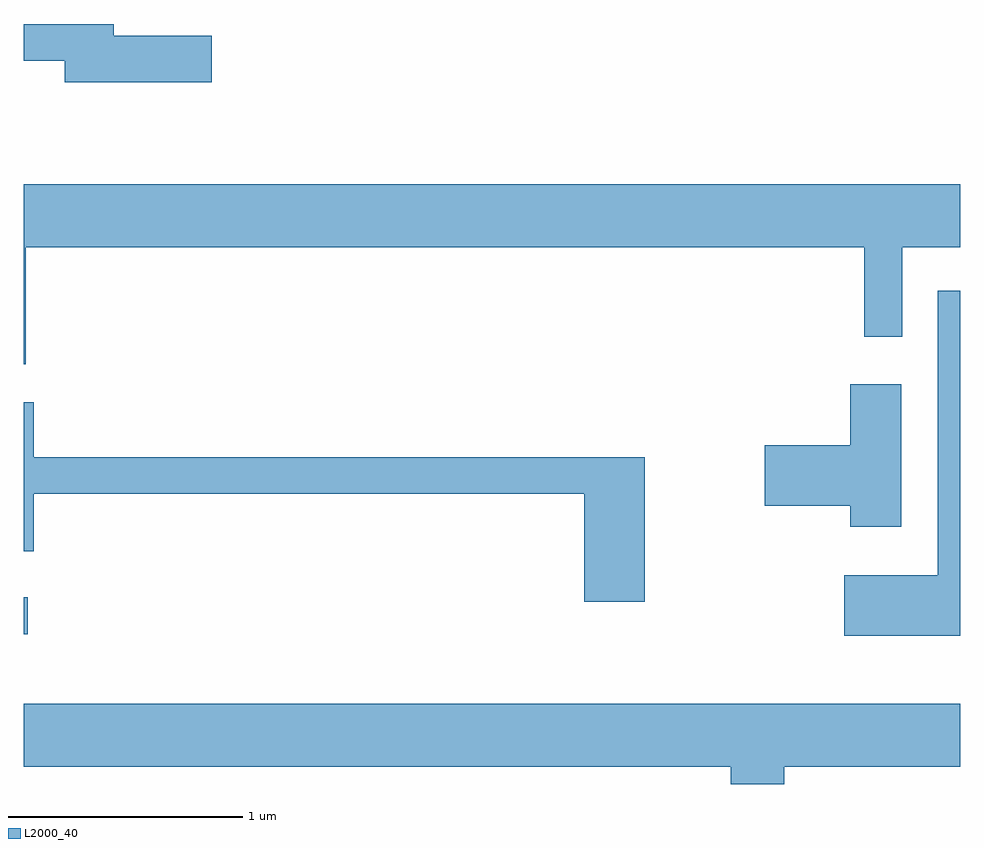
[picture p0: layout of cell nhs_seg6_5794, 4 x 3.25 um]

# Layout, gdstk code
import gdstk
lib = gdstk.Library(unit=1e-6, precision=1e-09)
def R(c, l, rs):  # rectangles x0, y0, x1, y1
    for r in rs: c.add(gdstk.rectangle(r[:2], r[2:], *l))
def P(c, l, *ps):  # polygons
    for p in ps: c.add(gdstk.Polygon(p, *l))
L2000_40 = (2000, 40)

nhs_seg6_5794 = lib.new_cell('nhs_seg6_5794')
R(nhs_seg6_5794, L2000_40, [(361.611,1572.801,361.628,1572.959)])
P(nhs_seg6_5794, L2000_40, [(362.414,1575.359),(361.994,1575.359),(361.994,1575.409),(361.611,1575.409),(361.611,1575.251),(361.786,1575.251),(361.786,1575.161),(362.414,1575.161)],
  [(361.619,1574.456),(365.201,1574.456),(365.201,1574.073),(365.364,1574.073),(365.364,1574.456),(365.611,1574.456),(365.611,1574.724),(361.611,1574.724),(361.611,1573.956),(361.619,1573.956)],
  [(365.611,1574.269),(365.516,1574.269),(365.516,1573.054),(365.116,1573.054),(365.116,1572.796),(365.611,1572.796)],
  [(365.359,1573.869),(365.141,1573.869),(365.141,1573.609),(364.776,1573.609),(364.776,1573.351),(365.141,1573.351),(365.141,1573.261),(365.359,1573.261)],
  [(364.264,1573.559),(361.654,1573.559),(361.654,1573.794),(361.611,1573.794),(361.611,1573.156),(361.654,1573.156),(361.654,1573.401),(364.006,1573.401),(364.006,1572.941),(364.264,1572.941)],
  [(364.859,1572.236),(365.611,1572.236),(365.611,1572.504),(361.611,1572.504),(361.611,1572.236),(364.631,1572.236),(364.631,1572.162),(364.859,1572.162)])

lib.write_gds('nhs_seg6_5794.gds')
